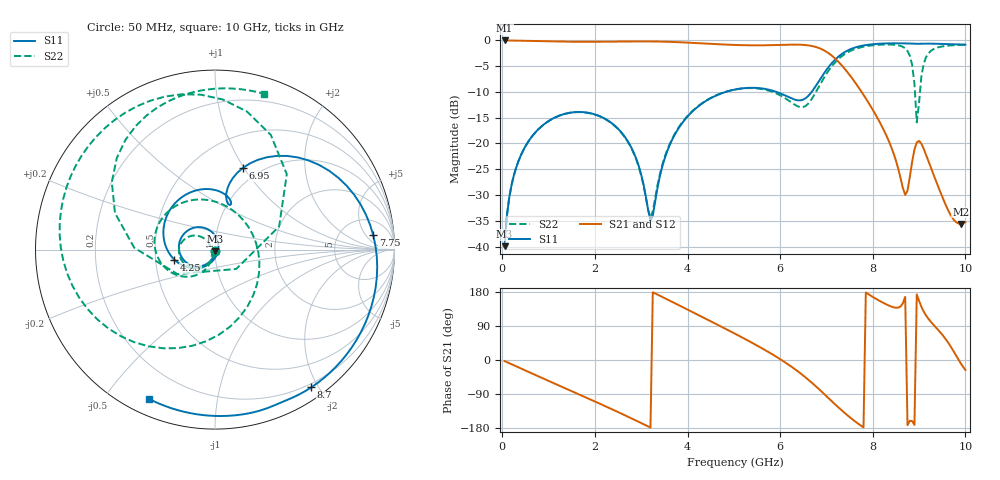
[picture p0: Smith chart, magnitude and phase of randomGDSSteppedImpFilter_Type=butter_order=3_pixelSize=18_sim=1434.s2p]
! freq	dB(S11)	phase(S11)	dB(S12)	phase(S12)
!  dB(S21)	phase(S21)	dB(S22)	phase(S22)
!S-par simulation data
#  GHz  S  DB  R 50
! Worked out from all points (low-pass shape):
!   200 points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, 50 MHz to 10 GHz, reference 50 ohm
!   highest |S21| = 0.00 dB at 50 MHz (marker M1); lowest = -35.6 dB at 9.9 GHz (marker M2)
!   |S21| within 3 dB of the highest: start of sweep to 7.122 GHz
!   lowest |S11| = -39.9 dB at 50 MHz (marker M3), VSWR 1.02, Z = 49.9 - j1 ohm
!   |S11| at or under -10 dB: start of sweep to 4.821 GHz; 5.923 GHz to 6.679 GHz (755.7 MHz wide, 12 % of centre)
!   |S22| runs from -39.9 to -0.8 dB; largest |S21 - S12| = 0
!   S11 on the Smith chart (normalised r, x): 50 MHz: 1.00, -0.02; 4.25 GHz: 0.63, -0.08; 6.95 GHz: 0.84, +0.99; 7.75 GHz: 11, +8; 8.7 GHz: 0.15, -1.91; 10 GHz: 0.07, -0.65
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0.05  -39.93 -93.4  -0.00 -2.8  -0.00 -2.8  -39.93 -93.0
0.5  -20.54 -120.7  -0.07 -27.8  -0.07 -27.8  -20.54 -117.1
1.75  -13.92 165.8  -0.27 -95.8  -0.27 -95.8  -13.95 -179.6
2.7  -19.43 103.4  -0.20 -148.8  -0.20 -148.8  -19.53 137.4
3.2  -34.93 -1.6  -0.19 -178.3  -0.19 -178.3  -34.37 -171.1
3.4  -26.46 -90.6  -0.22 169.7  -0.22 169.7  -26.05 -112.6
4.25  -12.67 -166.0  -0.54 117.7  -0.54 117.7  -12.59 -140.4
5.05  -9.48 137.4  -0.88 67.8  -0.88 67.8  -9.48 177.4
6  -10.26 77.8  -0.87 2.3  -0.87 2.3  -10.64 108.0
6.7  -9.75 78.6  -1.11 -61.6  -1.11 -61.6  -11.12 -28.2
6.95  -6.35 71.1  -1.94 -89.7  -1.94 -89.7  -7.19 -78.9
7.3  -2.84 43.5  -4.53 -129.7  -4.53 -129.7  -3.29 -131.2
7.75  -1.06 5.2  -9.87 -173.6  -9.87 -173.6  -1.32 179.4
8.35  -0.57 -35.5  -19.61 143.5  -19.61 143.5  -0.79 127.8
8.7  -0.57 -55.0  -29.97 166.8  -29.97 166.8  -1.54 87.0
8.85  -0.62 -62.6  -23.56 -161.1  -23.56 -161.1  -4.73 46.4
8.95  -0.65 -67.2  -19.79 173.1  -19.79 173.1  -15.90 -42.2
9  -0.64 -69.5  -19.50 155.9  -19.50 155.9  -12.04 -147.0
9.1  -0.62 -74.2  -21.03 127.8  -21.03 127.8  -4.53 159.9
9.35  -0.64 -85.8  -26.93 87.7  -26.93 87.7  -1.53 117.1
9.9  -0.79 -109.6  -35.60 -8.7  -35.60 -8.7  -0.85 78.0
10  -0.82 -113.8  -35.29 -26.4  -35.29 -26.4  -0.82 72.6
